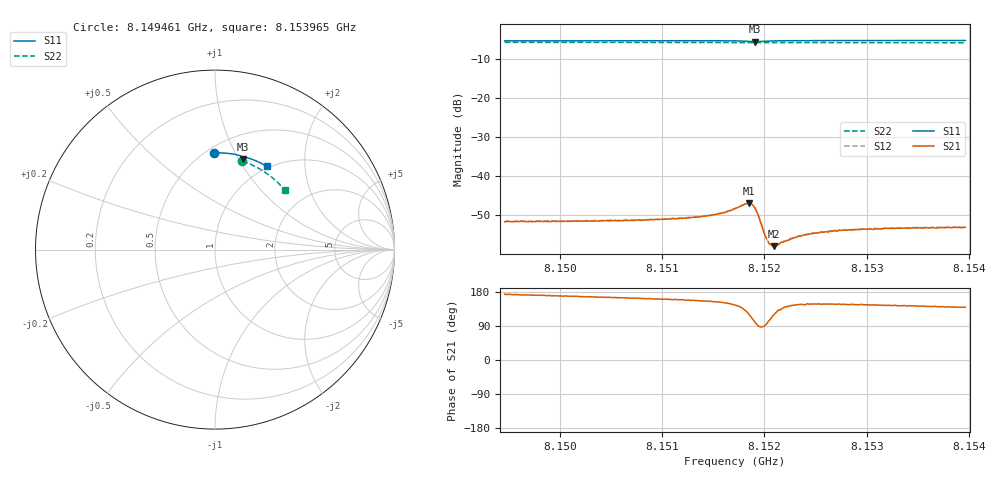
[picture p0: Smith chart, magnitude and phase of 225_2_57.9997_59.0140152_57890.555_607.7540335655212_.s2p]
#  HZ  S  RI  R  50.00
! Rohde & Schwarz Vector Network Analyzer
! Rohde-Schwarz,ZNB20-2Port,1311601062101988,3.16
! Created: UTC 3/21/2024, 1:00:19 AM
! freq[Hz]  re:S11  im:S11  re:S21  im:S21  re:S12  im:S12  re:S22  im:S22
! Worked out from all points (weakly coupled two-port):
!   401 points, 8.149461 GHz to 8.153965 GHz, reference 50 ohm
!   highest |S21| = -46.88 dB at 8.151848 GHz (marker M1); lowest = -57.9 dB at 8.152096 GHz (marker M2)
!   lowest |S11| = -5.6 dB at 8.151904 GHz (marker M3), VSWR 3.23, Z = 37.3 + j52.1 ohm
!   |S11| at or under -10 dB: nowhere
!   |S22| runs from -5.8 to -5.7 dB; largest |S21 - S12| = 0.00012
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8.1494612e9  -0.00745 0.5391  -0.00261 0.000285  -0.00262 0.000353  0.1525 0.4928
8.1502155e9  0.0454 0.5385  -0.00261 0.000586  -0.00261 0.00062  0.1981 0.4754
8.1509699e9  0.0981 0.5327  -0.00265 0.000914  -0.00265 0.000963  0.2418 0.4539
8.1512401e9  0.1171 0.529  -0.00273 0.00111  -0.00273 0.00114  0.2569 0.4451
8.151454e9  0.1324 0.5253  -0.00285 0.00131  -0.00286 0.00136  0.2686 0.4377
8.1516004e9  0.1435 0.5218  -0.00303 0.00164  -0.00301 0.0017  0.2766 0.4326
8.151713e9  0.1524 0.5176  -0.00316 0.00222  -0.00315 0.00228  0.2825 0.4285
8.151803e9  0.1586 0.5114  -0.00297 0.0032  -0.00299 0.00321  0.2872 0.4249
8.1518481e9  0.1592 0.5067  -0.00234 0.00388  -0.00233 0.00391  0.2894 0.4233
8.1518818e9  0.1574 0.5041  -0.00145 0.00411  -0.0014 0.00415  0.2909 0.422
8.1519044e9  0.1556 0.5041  -0.000775 0.0039  -0.000717 0.00396  0.2922 0.4211
8.1519381e9  0.1537 0.5063  -4.39e-05 0.00322  1.29e-05 0.00322  0.2937 0.4201
8.1519944e9  0.1559 0.511  4.77e-05 0.00195  0.000101 0.00195  0.2966 0.4182
8.1520282e9  0.1586 0.5127  -0.0002 0.00153  -0.000142 0.00154  0.2983 0.4168
8.152062e9  0.162 0.5135  -0.000437 0.00128  -0.000446 0.00128  0.3003 0.4158
8.1520958e9  0.1651 0.5138  -0.00063 0.00111  -0.000671 0.00117  0.3019 0.4143
8.1522984e9  0.1816 0.5113  -0.00134 0.00095  -0.00138 0.000969  0.3123 0.4064
8.1524673e9  0.1939 0.5076  -0.00155 0.000994  -0.00156 0.00106  0.3208 0.3995
8.15267e9  0.2076 0.5027  -0.00171 0.00108  -0.00167 0.00111  0.3305 0.3911
8.1529064e9  0.2233 0.4963  -0.00172 0.00118  -0.00176 0.00119  0.3418 0.381
8.1532216e9  0.2435 0.4875  -0.00174 0.00128  -0.00176 0.00129  0.3562 0.367
8.1539647e9  0.289 0.4632  -0.00167 0.00146  -0.00169 0.00147  0.3877 0.3319
